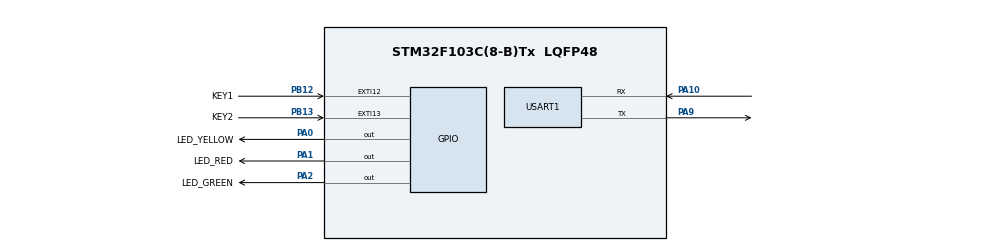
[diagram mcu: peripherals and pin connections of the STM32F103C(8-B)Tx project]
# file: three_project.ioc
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Mcu.Family=STM32F1
Mcu.Name=STM32F103C(8-B)Tx
Mcu.Package=LQFP48
NVIC.EXTI15_10_IRQn=true\:0\:0\:false\:false\:true\:true\:true\:true
NVIC.PriorityGroup=NVIC_PRIORITYGROUP_4
NVIC.USART1_IRQn=true\:0\:0\:false\:false\:true\:true\:true\:true
PA0-WKUP.GPIO_Label=LED_YELLOW
PA0-WKUP.Signal=GPIO_Output
PA1.GPIO_Label=LED_RED
PA1.Signal=GPIO_Output
PA10.Mode=Asynchronous
PA10.Signal=USART1_RX
PA13.Mode=Serial_Wire
PA13.Signal=SYS_JTMS-SWDIO
PA14.Mode=Serial_Wire
PA14.Signal=SYS_JTCK-SWCLK
PA2.GPIO_Label=LED_GREEN
PA2.Signal=GPIO_Output
PA9.Mode=Asynchronous
PA9.Signal=USART1_TX
PB12.GPIO_Label=KEY1
PB12.GPIO_ModeDefaultEXTI=GPIO_MODE_IT_FALLING
PB12.GPIO_PuPd=GPIO_PULLUP
PB12.Signal=GPXTI12
PB13.GPIO_Label=KEY2
PB13.GPIO_ModeDefaultEXTI=GPIO_MODE_IT_FALLING
PB13.GPIO_PuPd=GPIO_PULLUP
PB13.Signal=GPXTI13
PC14-OSC32_IN.Mode=LSE-External-Oscillator
PC14-OSC32_IN.Signal=RCC_OSC32_IN
PC15-OSC32_OUT.Mode=LSE-External-Oscillator
PC15-OSC32_OUT.Signal=RCC_OSC32_OUT
ProjectManager.HeapSize=0x200
ProjectManager.StackSize=0x400
ProjectManager.TargetToolchain=STM32CubeIDE
RCC.APB1Freq_Value=8000000
RCC.APB2Freq_Value=8000000
USART1.VirtualMode=VM_ASYNC
board=custom

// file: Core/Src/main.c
/* USER CODE BEGIN Header */
/**
  ******************************************************************************
  * @file           : main.c
  * @brief          : Main program body
  ******************************************************************************
  * @attention
  *
  * Copyright (c) 2026 STMicroelectronics.
  * All rights reserved.
  *
  * This software is licensed under terms that can be found in the LICENSE file
  * in the root directory of this software component.
  * If no LICENSE file comes with this software, it is provided AS-IS.
  *
  ******************************************************************************
  */
/* USER CODE END Header */
#include "main.h"
#include "usart.h"
#include "gpio.h"

/* USER CODE BEGIN Includes */
#include "OLED.h"
#include <stdio.h>
/* USER CODE END Includes */

/* USER CODE BEGIN PTD */
typedef enum
{
  RUN_STOPPED = 0,
  RUN_ACTIVE  = 1
} RunState;

typedef enum
{
  DIR_FORWARD = 0,
  DIR_REVERSE = 1
} Direction;
typedef struct
{
  uint8_t header;
  uint8_t run;
  uint8_t dir;
  uint8_t step_l;
  uint8_t step_h;
  uint8_t checksum;
} RxPacket;
/* USER CODE END PTD */

/* USER CODE BEGIN PD */
#define RX_HEADER      0xAAU
#define STEP_MIN_MS    100U
#define STEP_MAX_MS    2000U
#define KEY_DIR_PIN        GPIO_PIN_12
#define KEY_PAUSE_PIN      GPIO_PIN_13
#define KEY_DEBOUNCE_MS    30U
/* USER CODE END PD */

/* USER CODE BEGIN PV */
static char feedback_buf[64];
static volatile uint8_t tx_busy = 0U;
static volatile uint8_t feedback_pending = 0U;
static RxPacket rx_packet;
static volatile uint8_t packet_ready = 0U;
static volatile uint8_t key_dir_event = 0U;
static volatile uint8_t key_pause_event = 0U;

static volatile uint32_t last_dir_edge_tick = 0U;
static volatile uint32_t last_pause_edge_tick = 0U;
static RunState run_state = RUN_ACTIVE;
static Direction direction = DIR_FORWARD;
static uint16_t step_ms = 300U;
static uint32_t last_step_tick = 0U;
static uint8_t led_index = 0U;

static const uint16_t led_pins[3] =
{
  GPIO_PIN_0,
  GPIO_PIN_1,
  GPIO_PIN_2
};
/* USER CODE END PV */

void SystemClock_Config(void);
/* USER CODE BEGIN PFP */
static void service_feedback(void);
static uint8_t process_packet(const RxPacket *packet);
static void all_leds_off(void);
static void show_only_led(void);
static void refresh_oled_all(void);
static void refresh_oled_led(void);
/* USER CODE END PFP */

int main(void)
{

  /* MCU Configuration--------------------------------------------------------*/

  /* Reset of all peripherals, Initializes the Flash interface and the Systick. */
  HAL_Init();

  /* Configure the system clock */
  SystemClock_Config();

  /* Initialize all configured peripherals */
  MX_GPIO_Init();
  MX_USART1_UART_Init();
  /* USER CODE BEGIN 2 */
  led_index = 0U;

  OLED_Init();
  last_step_tick = HAL_GetTick();
  show_only_led();
  refresh_oled_all();
  if (HAL_UART_Receive_IT(
        &huart1,
        (uint8_t *)&rx_packet,
        sizeof(rx_packet)
    ) != HAL_OK)
  {
    Error_Handler();
  }

  /* USER CODE END 2 */

  /* Infinite loop */
  while (1)
  {

    /* USER CODE BEGIN 3 */
    uint8_t dir_action;
    uint8_t pause_action;

    __disable_irq();
    dir_action = key_dir_event;
    pause_action = key_pause_event;
    key_dir_event = 0U;
    key_pause_event = 0U;
    __enable_irq();

    /* 方向按键 */
    if (dir_action)
    {
      direction = (direction == DIR_FORWARD)
                ? DIR_REVERSE
                : DIR_FORWARD;

      last_step_tick = HAL_GetTick();
      refresh_oled_all();

      feedback_pending = 1U;
    }

    /* 暂停/继续按键 */
    if (pause_action)
    {
      run_state = (run_state == RUN_ACTIVE)
                ? RUN_STOPPED
                : RUN_ACTIVE;

      if (run_state == RUN_ACTIVE)
      {
        last_step_tick = HAL_GetTick();
      }

      refresh_oled_all();

      feedback_pending = 1U;
    }
    {
      RxPacket local_packet;
      uint8_t has_packet = 0U;

      __disable_irq();
      if (packet_ready)
      {
        local_packet = rx_packet;
        packet_ready = 0U;
        has_packet = 1U;
      }
      __enable_irq();

      if (has_packet)
      {
        /* 先重新启动接收 */
        if (HAL_UART_Receive_IT(
                &huart1,
                (uint8_t *)&rx_packet,
                sizeof(rx_packet)
            ) != HAL_OK)
        {
          Error_Handler();
        }

        process_packet(&local_packet);
      }
    }
    if (run_state == RUN_ACTIVE)
    {
      uint32_t now = HAL_GetTick();

      if ((uint32_t)(now - last_step_tick) >= step_ms)
      {
        last_step_tick = now;

        if (direction == DIR_FORWARD)
        {
          led_index = (uint8_t)(
              (led_index + 1U) % 3U
          );
        }
        else
        {
          led_index = (uint8_t)(
              (led_index + 2U) % 3U
          );
        }

        show_only_led();
        refresh_oled_led();
      }
    }
    service_feedback();
  }
  /* USER CODE END 3 */
}

void SystemClock_Config(void)
{
  RCC_OscInitTypeDef RCC_OscInitStruct = {0};
  RCC_ClkInitTypeDef RCC_ClkInitStruct = {0};

  /** Initializes the RCC Oscillators according to the specified parameters
  * in the RCC_OscInitTypeDef structure.
  */
  RCC_OscInitStruct.OscillatorType = RCC_OSCILLATORTYPE_HSI;
  RCC_OscInitStruct.HSIState = RCC_HSI_ON;
  RCC_OscInitStruct.HSICalibrationValue = RCC_HSICALIBRATION_DEFAULT;
  RCC_OscInitStruct.PLL.PLLState = RCC_PLL_NONE;
  if (HAL_RCC_OscConfig(&RCC_OscInitStruct) != HAL_OK)
  {
    Error_Handler();
  }

  /** Initializes the CPU, AHB and APB buses clocks
  */
  RCC_ClkInitStruct.ClockType = RCC_CLOCKTYPE_HCLK|RCC_CLOCKTYPE_SYSCLK
                              |RCC_CLOCKTYPE_PCLK1|RCC_CLOCKTYPE_PCLK2;
  RCC_ClkInitStruct.SYSCLKSource = RCC_SYSCLKSOURCE_HSI;
  RCC_ClkInitStruct.AHBCLKDivider = RCC_SYSCLK_DIV1;
  RCC_ClkInitStruct.APB1CLKDivider = RCC_HCLK_DIV1;
  RCC_ClkInitStruct.APB2CLKDivider = RCC_HCLK_DIV1;

  if (HAL_RCC_ClockConfig(&RCC_ClkInitStruct, FLASH_LATENCY_0) != HAL_OK)
  {
    Error_Handler();
  }
}

/* USER CODE BEGIN 4 */
void HAL_UART_TxCpltCallback(UART_HandleTypeDef *huart)
{
  if (huart->Instance == USART1)
  {
    tx_busy = 0U;
  }
}
static void service_feedback(void)
{
  int length;

  if (tx_busy || !feedback_pending)
  {
    return;
  }

  feedback_pending = 0U;

  length = snprintf(
      feedback_buf,
      sizeof(feedback_buf),
      "STATE=%s,DIR=%s,STEP=%u,LED=%u\r\n",
      (run_state == RUN_ACTIVE) ? "RUN" : "PAUSE",
      (direction == DIR_FORWARD) ? "FWD" : "REV",
      (unsigned int)step_ms,
      (unsigned int)(led_index + 1U)
  );

  if (length <= 0 ||
      length >= (int)sizeof(feedback_buf))
  {
    return;
  }

  tx_busy = 1U;

  if (HAL_UART_Transmit_IT(
          &huart1,
          (uint8_t *)feedback_buf,
          (uint16_t)length
      ) != HAL_OK)
  {
    tx_busy = 0U;
    feedback_pending = 1U;
  }
}
static uint8_t process_packet(const RxPacket *packet)
{
  uint16_t received_step;
  uint8_t expected_check;

  received_step =
      (uint16_t)packet->step_l |
      ((uint16_t)packet->step_h << 8U);

  expected_check = (uint8_t)(
      packet->header +
      packet->run +
      packet->dir +
      packet->step_l +
      packet->step_h
  );

  if (packet->header != RX_HEADER)
  {
    return 0U;
  }

  if (packet->checksum != expected_check)
  {
    return 0U;
  }

  if (packet->run > 1U || packet->dir > 1U)
  {
    return 0U;
  }

  if (received_step < STEP_MIN_MS ||
      received_step > STEP_MAX_MS)
  {
    return 0U;
  }

  run_state = (RunState)packet->run;
  direction = (Direction)packet->dir;
  step_ms = received_step;
  last_step_tick = HAL_GetTick();

  refresh_oled_all();
  feedback_pending = 1U;

  return 1U;
}
void HAL_UART_RxCpltCallback(UART_HandleTypeDef *huart)
{
  if (huart->Instance == USART1)
  {
    packet_ready = 1U;
  }
}
static void all_leds_off(void)
{
  uint8_t i;

  for (i = 0U; i < 3U; i++)
  {
    HAL_GPIO_WritePin(
        GPIOA,
        led_pins[i],
        GPIO_PIN_RESET
    );
  }
}

static void show_only_led(void)
{
  all_leds_off();

  HAL_GPIO_WritePin(
      GPIOA,
      led_pins[led_index],
      GPIO_PIN_SET
  );
}
static void refresh_oled_all(void)
{
  char line[17];

  snprintf(
      line,
      sizeof(line),
      "STATE:%-5s",
      (run_state == RUN_ACTIVE) ? "RUN" : "PAUSE"
  );
  OLED_ShowString(1, 1, line);

  snprintf(
      line,
      sizeof(line),
      "DIR:%-3s",
      (direction == DIR_FORWARD) ? "FWD" : "REV"
  );
  OLED_ShowString(2, 1, line);

  snprintf(
      line,
      sizeof(line),
      "STEP:%04u ms",
      (unsigned int)step_ms
  );
  OLED_ShowString(3, 1, line);

  refresh_oled_led();
}

static void refresh_oled_led(void)
{
  char line[17];

  snprintf(
      line,
      sizeof(line),
      "LED:%u   ",
      (unsigned int)(led_index + 1U)
  );
  OLED_ShowString(4, 1, line);
}
void HAL_GPIO_EXTI_Callback(uint16_t GPIO_Pin)
{
  uint32_t now = HAL_GetTick();

  if (GPIO_Pin == KEY_DIR_PIN)
  {
    if ((uint32_t)(now - last_dir_edge_tick)
        >= KEY_DEBOUNCE_MS)
    {
      last_dir_edge_tick = now;
      key_dir_event = 1U;
    }
  }
  else if (GPIO_Pin == KEY_PAUSE_PIN)
  {
    if ((uint32_t)(now - last_pause_edge_tick)
        >= KEY_DEBOUNCE_MS)
    {
      last_pause_edge_tick = now;
      key_pause_event = 1U;
    }
  }
}
/* USER CODE END 4 */

void Error_Handler(void)
{
  __disable_irq();
  while (1)
  {
  }
}
